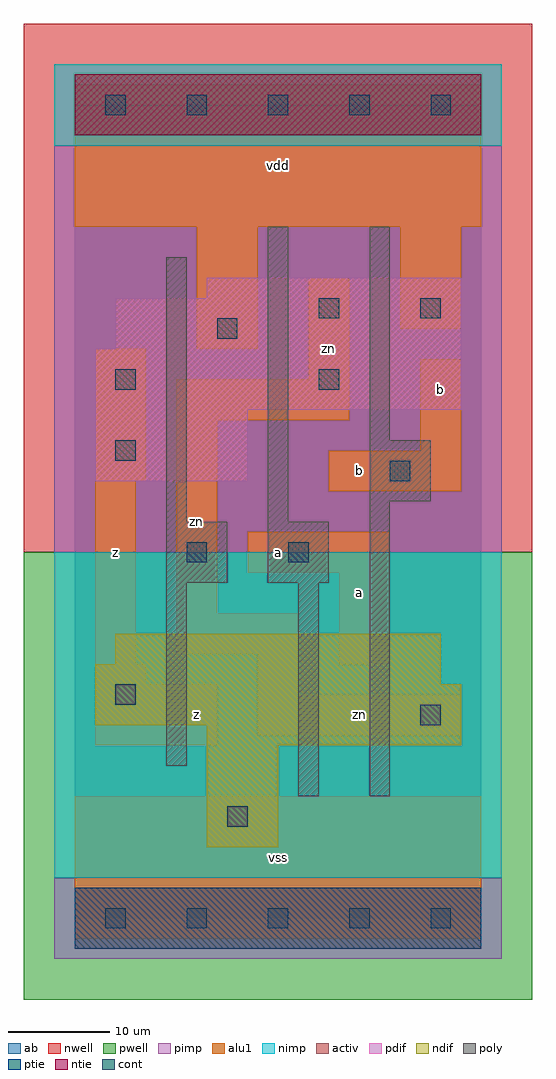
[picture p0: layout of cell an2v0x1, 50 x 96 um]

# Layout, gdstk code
import gdstk
lib = gdstk.Library(unit=1e-6, precision=1e-09)
def R(c, l, rs):  # rectangles x0, y0, x1, y1
    for r in rs: c.add(gdstk.rectangle(r[:2], r[2:], *l))
def A(c, l, x, y, w, h, nx, ny, dx, dy):  # array of equal rectangles
    R(c, l, [(x+i*dx, y+j*dy, x+i*dx+w, y+j*dy+h) for i in range(nx) for j in range(ny)])
ndif = (3, 0)
pdif = (4, 0)
ntie = (5, 0)
ptie = (6, 0)
cont = (25, 0)
pwell = (41, 0)
nwell = (42, 0)
activ = (43, 0)
pimp = (44, 0)
nimp = (45, 0)
poly = (46, 0)
alu1 = (49, 0)
ab = (63, 0)

an2v0x1 = lib.new_cell('an2v0x1')
R(an2v0x1, ndif, [(13,7,20,17), (13,17,38,19), (2,19,38,23), (2,23,36,25), (4,25,36,28)])
R(an2v0x1, pdif, [(2,43,17,50), (2,50,38,56), (4,56,38,61), (13,61,38,63)])
R(an2v0x1, ntie, [(0,77,40,83)])
R(an2v0x1, ptie, [(0,-3,40,3)])
A(an2v0x1, cont, 3, -1, 2, 2, 5, 2, 8, 80)
R(an2v0x1, cont, [(15,9,17,11), (34,19,36,21), (4,21,6,23), (11,35,13,37), (21,35,23,37), (31,43,33,45), (4,45,6,47), (4,52,6,54), (24,52,26,54), (14,57,16,59), (24,59,26,61), (34,59,36,61)])
R(an2v0x1, pwell, [(-5,-8,45,36)])
R(an2v0x1, nwell, [(-5,36,45,88)])
R(an2v0x1, activ, [(0,-3,40,3), (13,7,20,17), (13,17,38,19), (2,19,38,23), (2,23,36,25), (4,25,36,28), (2,43,17,50), (2,50,38,56), (4,56,38,61), (13,61,38,63), (0,77,40,83)])
R(an2v0x1, pimp, [(-2,-4,42,4), (-2,36,42,76)])
R(an2v0x1, nimp, [(-2,4,42,36), (-2,76,42,84)])
R(an2v0x1, poly, [(22,12,24,33), (29,12,31,41), (9,15,11,33), (9,33,15,39), (19,33,25,39), (9,39,11,65), (19,39,21,68), (29,41,35,47), (29,47,31,68)])
R(an2v0x1, alu1, [(0,-2,40,12), (2,17,14,23), (18,18,38,22), (18,22,22,26), (2,23,7,25), (2,25,6,43), (26,25,31,34), (10,26,22,30), (10,30,14,49), (17,34,31,38), (25,42,38,46), (2,43,7,56), (34,46,38,55), (10,49,27,53), (23,53,27,63), (12,56,18,68), (32,58,38,68), (0,68,40,82)])
R(an2v0x1, ab, [(0,0,40,80)])
an2v0x1.add(gdstk.Label('zn', (12,39), layer=49, texttype=0))
an2v0x1.add(gdstk.Label('zn', (25,56), layer=49, texttype=0))
an2v0x1.add(gdstk.Label('zn', (28,20), layer=49, texttype=0))
an2v0x1.add(gdstk.Label('z', (4,36), layer=49, texttype=0))
an2v0x1.add(gdstk.Label('z', (12,20), layer=49, texttype=0))
an2v0x1.add(gdstk.Label('vss', (20,6), layer=49, texttype=0))
an2v0x1.add(gdstk.Label('a', (20,36), layer=49, texttype=0))
an2v0x1.add(gdstk.Label('a', (28,32), layer=49, texttype=0))
an2v0x1.add(gdstk.Label('b', (28,44), layer=49, texttype=0))
an2v0x1.add(gdstk.Label('vdd', (20,74), layer=49, texttype=0))
an2v0x1.add(gdstk.Label('b', (36,52), layer=49, texttype=0))

lib.write_gds('an2v0x1.gds')
